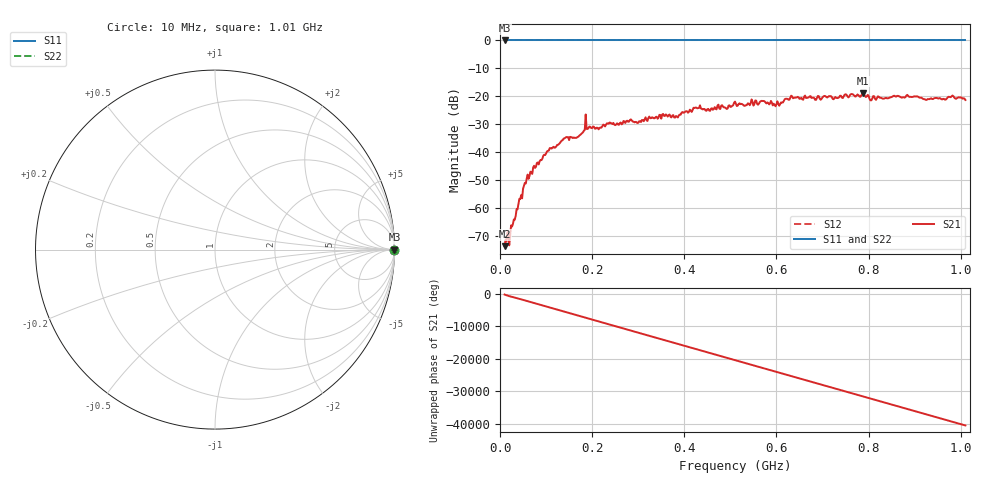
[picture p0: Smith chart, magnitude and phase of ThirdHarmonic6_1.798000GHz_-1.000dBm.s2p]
! 8/16/2025 9:45:50 PM
! C:\ANRITSUVNA\TEMP\TEMP.S2P
! CHANNEL.1
! TR.MEASUREMENT
! RAW.DATA
! RF.CORRECTION.OFF
! AVERAGING.OFF
! IF.BANDWIDTH: 5KHZ
! SWEEPTYPE:  FREQ.SWEEP(Linear)
! Reference Plane Port Info
! PORT:  PORT1  PORT2
! DISTANCE:  0  m  0  m
! TIME:  0  s  0  s
! PHASE.OFFSET:  0  deg.  0  deg.
! LOSS:  0  dB  0  dB
! REF.LOSS:  0  dB  0  dB
! REF.FREQ:  0  Hz  0  Hz
! Power Info
! POWER:  -20  dBm  -20  dBm
! EFF.POWER:  -20  dBm  -20  dBm
! SOURCE.ATTEN:  0  dB  0  dB
! TEST.ATTEN:  0  dB  0  dB
# GHZ S RI R 50.0
! FREQ.GHZ  S11RE  S11IM  S21RE  S21IM  S12RE  S12IM  S22RE  S22IM
!; PortSelection: Port_12
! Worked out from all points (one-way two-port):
!   501 points, 10 MHz to 1.01 GHz, reference 50 ohm
!   highest |S21| = -18.85 dB at 788 MHz (marker M1); lowest = -73.7 dB at 10 MHz (marker M2)
!   lowest |S11| = 0.0 dB at 10 MHz (marker M3)
!   |S11| at or under -10 dB: nowhere
!   |S22| runs from 0.0 to 0.0 dB; largest |S21 - S12| = 1.1
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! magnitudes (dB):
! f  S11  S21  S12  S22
! 10 MHz  0.0  -73.7  0.0  0.0
! 24 MHz  0.0  -66.2  0.0  0.0
! 56 MHz  0.0  -51.2  0.0  0.0
! 76 MHz  0.0  -45.7  0.0  0.0
! 106 MHz  0.0  -39.4  0.0  0.0
! 140 MHz  0.0  -35.0  0.0  0.0
! 178 MHz  0.0  -33.2  0.0  0.0
! 190 MHz  0.0  -31.7  0.0  0.0
! 210 MHz  0.0  -31.2  0.0  0.0
! 344 MHz  0.0  -27.6  0.0  0.0
! 382 MHz  0.0  -27.1  0.0  0.0
! 424 MHz  0.0  -24.1  0.0  0.0
! 452 MHz  0.0  -24.5  0.0  0.0
! 510 MHz  0.0  -21.9  0.0  0.0
! 570 MHz  0.0  -21.7  0.0  0.0
! 596 MHz  0.0  -23.1  0.0  0.0
! 634 MHz  0.0  -20.0  0.0  0.0
! 678 MHz  0.0  -20.5  0.0  0.0
! 788 MHz  0.0  -18.9  0.0  0.0
! 804 MHz  0.0  -21.5  0.0  0.0
! 844 MHz  0.0  -20.6  0.0  0.0
! 1.01 GHz  0.0  -21.3  0.0  0.0
